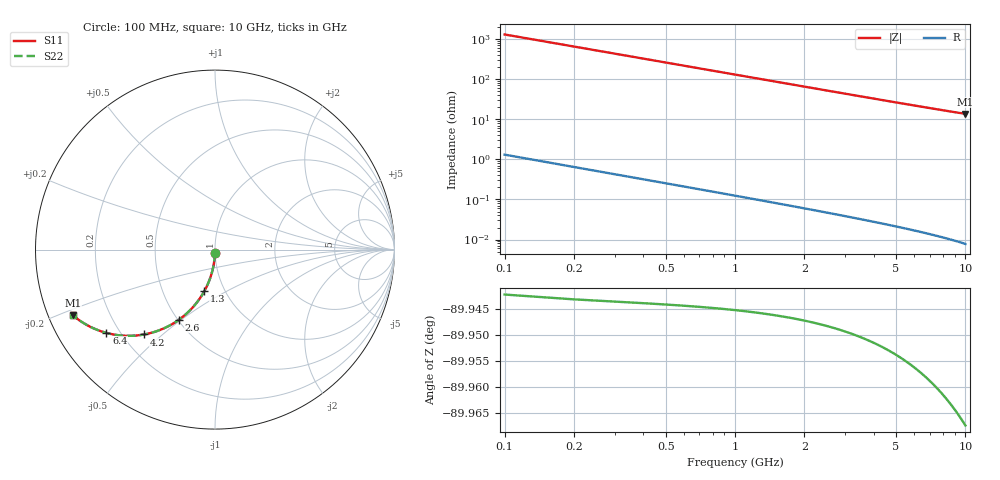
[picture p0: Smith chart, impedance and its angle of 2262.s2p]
# Hz S RI R 50.00
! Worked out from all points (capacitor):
!   100 points, 100 MHz to 10 GHz, reference 50 ohm
!   read as one part in shunt: C = 1.22 pF near 100 MHz
!   lowest |Z| = 13.7 ohm at 10 GHz (marker M1)
!   S11 on the Smith chart (normalised r, x): 100 MHz: 1.00, -0.04; 1.3 GHz: 0.80, -0.39; 2.6 GHz: 0.51, -0.49; 4.2 GHz: 0.29, -0.44; 6.4 GHz: 0.15, -0.33; 10 GHz: 0.07, -0.22
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1e8  -0.000152 -0.0188  0.9994 -0.0196  0.9994 -0.0196  -0.000152 -0.0188
2e8  -0.00127 -0.0376  0.9983 -0.0391  0.9983 -0.0391  -0.00127 -0.0376
3e8  -0.00312 -0.0563  0.9964 -0.0585  0.9964 -0.0585  -0.00312 -0.0563
4e8  -0.00569 -0.0748  0.9938 -0.0778  0.9938 -0.0778  -0.00569 -0.0748
5e8  -0.00897 -0.0932  0.9905 -0.0969  0.9905 -0.0969  -0.00897 -0.0932
6e8  -0.0129 -0.1114  0.9866 -0.1158  0.9866 -0.1158  -0.0129 -0.1114
7e8  -0.0176 -0.1293  0.9819 -0.1345  0.9819 -0.1345  -0.0176 -0.1293
8e8  -0.0229 -0.147  0.9766 -0.1529  0.9766 -0.1529  -0.0229 -0.147
1e9  -0.0354 -0.1813  0.964 -0.1888  0.964 -0.1888  -0.0354 -0.1813
1.3e9  -0.0586 -0.23  0.9409 -0.2397  0.9409 -0.2397  -0.0586 -0.23
1.5e9  -0.0765 -0.2602  0.9229 -0.2714  0.9229 -0.2714  -0.0765 -0.2602
1.8e9  -0.1067 -0.3019  0.8927 -0.3153  0.8927 -0.3153  -0.1067 -0.3019
2.2e9  -0.1515 -0.3502  0.8478 -0.3665  0.8478 -0.3665  -0.1515 -0.3502
2.6e9  -0.1998 -0.3899  0.7995 -0.4093  0.7995 -0.4093  -0.1998 -0.3899
3.4e9  -0.2996 -0.445  0.6996 -0.4704  0.6996 -0.4704  -0.2996 -0.445
4.2e9  -0.3955 -0.4728  0.6035 -0.5043  0.6035 -0.5043  -0.3955 -0.4728
5.1e9  -0.4919 -0.4803  0.5069 -0.5185  0.5069 -0.5185  -0.4919 -0.4803
6.4e9  -0.6053 -0.4639  0.393 -0.5122  0.393 -0.5122  -0.6053 -0.4639
6.7e9  -0.6273 -0.4574  0.3708 -0.508  0.3708 -0.508  -0.6273 -0.4574
7.5e9  -0.6793 -0.4374  0.3185 -0.4941  0.3185 -0.4941  -0.6793 -0.4374
8.4e9  -0.7276 -0.412  0.2697 -0.4759  0.2697 -0.4759  -0.7276 -0.412
1e10  -0.7928 -0.3651  0.2037 -0.4418  0.2037 -0.4418  -0.7928 -0.3651
